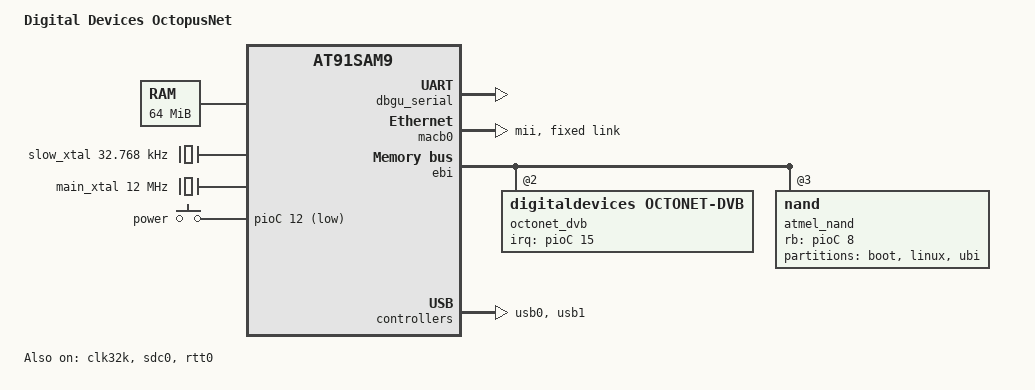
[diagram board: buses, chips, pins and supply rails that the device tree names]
/dts-v1/;
#include "at91sam9g45.dtsi"

/ {
	model = "Digital Devices OctopusNet";
        compatible = "digitaldevices,octonet", "atmel,at91sam9m10g45", "atmel,at91sam9g45", "atmel,at91sam9";


	aliases {
		serial0 = &dbgu_serial;
                rtc0 = &rtt0;
	};

	chosen {
		stdout-path = "serial0:115200n8";
		bootargs = "console=serial0,115200 clk_ignore_unused earlyprintk panic=5 root=/dev/nfs nfsroot=192.168.1.5:/net/nfs/octonet_new,v3,tcp ip=192.168.1.167:192.168.1.5:192.168.1.1:255.255.255.0:target-board:eth0:off rw";
	};

	memory {
		reg = <0x70000000 0x4000000>;
	};

        clocks {
                #address-cells = <1>;
                #size-cells = <1>;

                slow_xtal: slow_xtal {
                    compatible = "fixed-clock";
                    #clock-cells = <0>;
                    clock-frequency = <32768>;
                    clock-output-names = "slow_xtal";
                };

                main_xtal: main_xtal {
                    compatible = "fixed-clock";
                    #clock-cells = <0>;
                    clock-frequency = <12000000>; /* 12MHz main clock */
                };

        };


	ahb {

		apb {
			/* Serielle Konsole - nutzt Label dbgu_serial */
        		dbgu_serial: serial@ffffee00 {
                                compatible = "atmel,at91sam9260-usart";
                                reg = <0xffffee00 0x200>;
                                pinctrl-0 = <&pinctrl_dbgu_custom>;
                                interrupts = <1 4 7>;
				status = "okay";
		        };
                        clk32k: clock-controller@fffffd50 {
                                compatible = "atmel,at91sam9x5-sckc";
                                reg = <0xfffffd50 0x4>;
                                clocks = <&slow_xtal>;
                                #clock-cells = <0>;
                                status = "okay";
                        };
                        rst0: reset-controller@fffffd00 {
                               compatible = "atmel,at91sam9260-rstc";
                               reg = <0xfffffd00 0x10>;
                               clocks = <&clk32k>;
                        };
                        sdc0: poweroff@fffffd10 {
                                compatible = "atmel,at91sam9rl-shdwc";
                                reg = <0xfffffd10 0x10>;
                                clocks = <&clk32k>;
                                atmel,wakeup-mode = "any"; 
                                status = "okay";
                        };

                        rtt0: rtt@fffffd20 {
                            compatible = "atmel,at91sam9260-rtt";
                            reg = <0xfffffd20 0x10>;
                            interrupts = <1 IRQ_TYPE_LEVEL_HIGH 7>;
                            clocks = <&clk32k>;
                            atmel,time-reg = <&{/ahb/apb/syscon@fffffd60} 0>; 
                            status = "okay";
                        };
                        rtc0: rtc@fffffe00 {
                             compatible = "atmel,at91rm9200-rtc";
                             reg = <0xfffffe00 0x100>;
                             interrupts = <1 IRQ_TYPE_LEVEL_HIGH 7>;
                             clocks = <&clk32k>; 
                             status = "disabled";
                        };
                        gpbr0: syscon@fffffd60 {
                                compatible = "atmel,at91sam9260-gpbr", "syscon";
                                reg = <0xfffffd60 0x20>;
                        };
                        syscon@fffffd60 {
                            compatible = "atmel,at91sam9260-gpbr", "syscon";
                            reg = <0xfffffd60 0x10>;
                        };
			/* Ethernet (macb0) */
			macb0: ethernet@fffbc000 {
				phy-mode = "mii";
				pinctrl-names = "default";
				pinctrl-0 = <&pinctrl_macb0_mii_custom>;
				status = "okay";
                                jumbo-max-frame-size = <2048>; 
                                fixed-link {
                                    speed = <100>;
                                    full-duplex;
                                };
                                mdio {
                                        #address-cells = <1>;
                                        #size-cells = <0>;
                                };
			};
			pinctrl@fffff200 {
				#address-cells = <1>;
				#size-cells = <1>;
                                compatible = "atmel,at91sam9g45-pinctrl", "atmel,at91rm9200-pinctrl", "simple-bus";
				ranges = <0xfffff200 0xfffff200 0xa00>;
                                pck0 {
                                        pinctrl_pck0_custom: pck0-0 {
                                        atmel,pins = <
                                        1 31 0x2 0x0   /* PB31, Periph B (PCK0), Kein Pull-Up */
                                        >;
                                     };
                                };

				macb {
					pinctrl_macb0_mii_custom: macb_octo-0 {
                                            atmel,pins = <
                                                0 10 0x1 0x0  
                                                0 11 0x1 0x0 
                                                0 12 0x1 0x0
                                                0 13 0x1 0x0  
                                                0 14 0x1 0x0  
                                                0 15 0x1 0x0  
                                                0 16 0x1 0x0  
                                                0 17 0x1 0x0  
                                                0 18 0x1 0x0  
                                                0 19 0x1 0x0  
        
                                                0 25 0x1 0x0  
                                                0 27 0x1 0x0  
                                                0 28 0x1 0x0
                                                0 29 0x1 0x0 
                                                0 30 0x1 0x0  
                                                0 31 0x1 0x0  

                                                1 11 0x1 0x0  
                                                1 12 0x1 0x0  
                                            >;

					};
				};

				nand {
                                        pinctrl_nand_custom: nand-custom {
                                            atmel,pins =
                                                <AT91_PIOC 8 AT91_PERIPH_GPIO AT91_PINCTRL_PULL_UP
                                                 AT91_PIOC 14 AT91_PERIPH_GPIO AT91_PINCTRL_PULL_UP>;
                                        };
				};
                                dbgu {
                                        pinctrl_dbgu_custom: dbgu-custom {
                                            atmel,pins =
                                                <AT91_PIOB 13 AT91_PERIPH_A AT91_PINCTRL_NONE>;
                                        };
                                };

				keys {
					pinctrl_octonet_keys: octonet_keys-0 {
						atmel,pins = <2 12 0x0 0x1 2 15 0x0 0x10>;
					};
				};
			}; /* Ende pinctrl */
		}; /* Ende apb */

                ebi: ebi@10000000 {
                    compatible = "atmel,at91sam9g45-ebi", "simple-bus";
                    #address-cells = <2>;
                    #size-cells = <1>;
                    reg = <0x10000000 0x80>;
                    atmel,matrix = <&matrix>;
                    clocks = <&pmc PMC_TYPE_CORE PMC_MCK>;
                    status = "okay";

                    octonet_dvb@1,0 {
                        compatible = "digitaldevices,octonet-dvb";
                        reg = <2 0x0 0x10000>;

                        atmel,smc-bus-width = <16>;
                        atmel,smc-byte-access-type = "select";
                        atmel,smc-read-mode = "ncs";
                        atmel,smc-write-mode = "ncs";
                        atmel,smc-exnw-mode = "disabled";
                        atmel,smc-tdf-ns = <0>;
                        atmel,smc-page-mode = <8>;
                        atmel,smc-page-mode-enable = <0>;
                        atmel,smc-ncs-rd-setup-ns = <0>;
                        atmel,smc-nrd-setup-ns = <0>;
                        atmel,smc-ncs-rd-pulse-ns = <61>;
                        atmel,smc-nrd-pulse-ns = <61>;
                        atmel,smc-nrd-cycle-ns = <76>;

                        atmel,smc-ncs-wr-setup-ns = <0>;
                        atmel,smc-nwe-setup-ns = <0>;
                        atmel,smc-ncs-wr-pulse-ns = <61>;
                        atmel,smc-nwe-pulse-ns = <61>;
                        atmel,smc-nwe-cycle-ns = <76>;

                        interrupt-parent = <&pioC>;
                        interrupts = <15 IRQ_TYPE_EDGE_BOTH>;
                        clocks = <&pmc PMC_TYPE_SYSTEM 8>;
                        clock-names = "pck0";
                        status = "okay";
                    };

                    nand_controller: nand-controller {
                            status = "okay";
                            pinctrl-0 = <&pinctrl_nand_custom>;
                            pinctrl-names = "default";

                            nand@3 {
                                    reg = <0x3 0x0 0x800000>;
                                    rb-gpios = <&pioC 8 GPIO_ACTIVE_HIGH>;
                                    cs-gpios = <&pioC 14 GPIO_ACTIVE_HIGH>;
                                    nand-bus-width = <8>;
                                    nand-ecc-mode = "soft_bch";
                                    nand-on-flash-bbt;
                                    nand-ecc-strength = <8>;
                                    nand-ecc-step-size = <512>;
                                    label = "atmel_nand";
                                    atmel,smc-setup = <0>;
                                    atmel,smc-pulse = <4>;
                                    atmel,smc-cycle = <7>;

                                    partitions {
                                            compatible = "fixed-partitions";
                                            #address-cells = <1>;
                                            #size-cells = <1>;

                                            boot@0 {
                                                    label = "boot";
                                                    reg = <0x0 0x100000>;
                                            };

                                            linux@100000 {
                                                    label = "linux";
                                                    reg = <0x100000 0x1f00000>;
                                            };

                                            ubi@0x2000000 {
                                                    label = "ubi";
                                                    reg = <0x2000000 0x0>;
                                        };
                                    };
                                };
                        };


                };

	};

	gpio_keys {
		compatible = "gpio-keys";
		pinctrl-names = "default";
		pinctrl-0 = <&pinctrl_octonet_keys>;
		power {
			label = "power";
			gpios = <&pioC 12 1>;
			linux,code = <116>;
			gpio-key,wakeup;
		};
	};
};

&usb0 {
     status = "okay";
     num-ports = <2>;
     atmel,vbus-gpio = <&pioD 1 GPIO_ACTIVE_LOW
                        &pioD 3 GPIO_ACTIVE_LOW>;
};

&usb1 {
     status = "okay";
};


